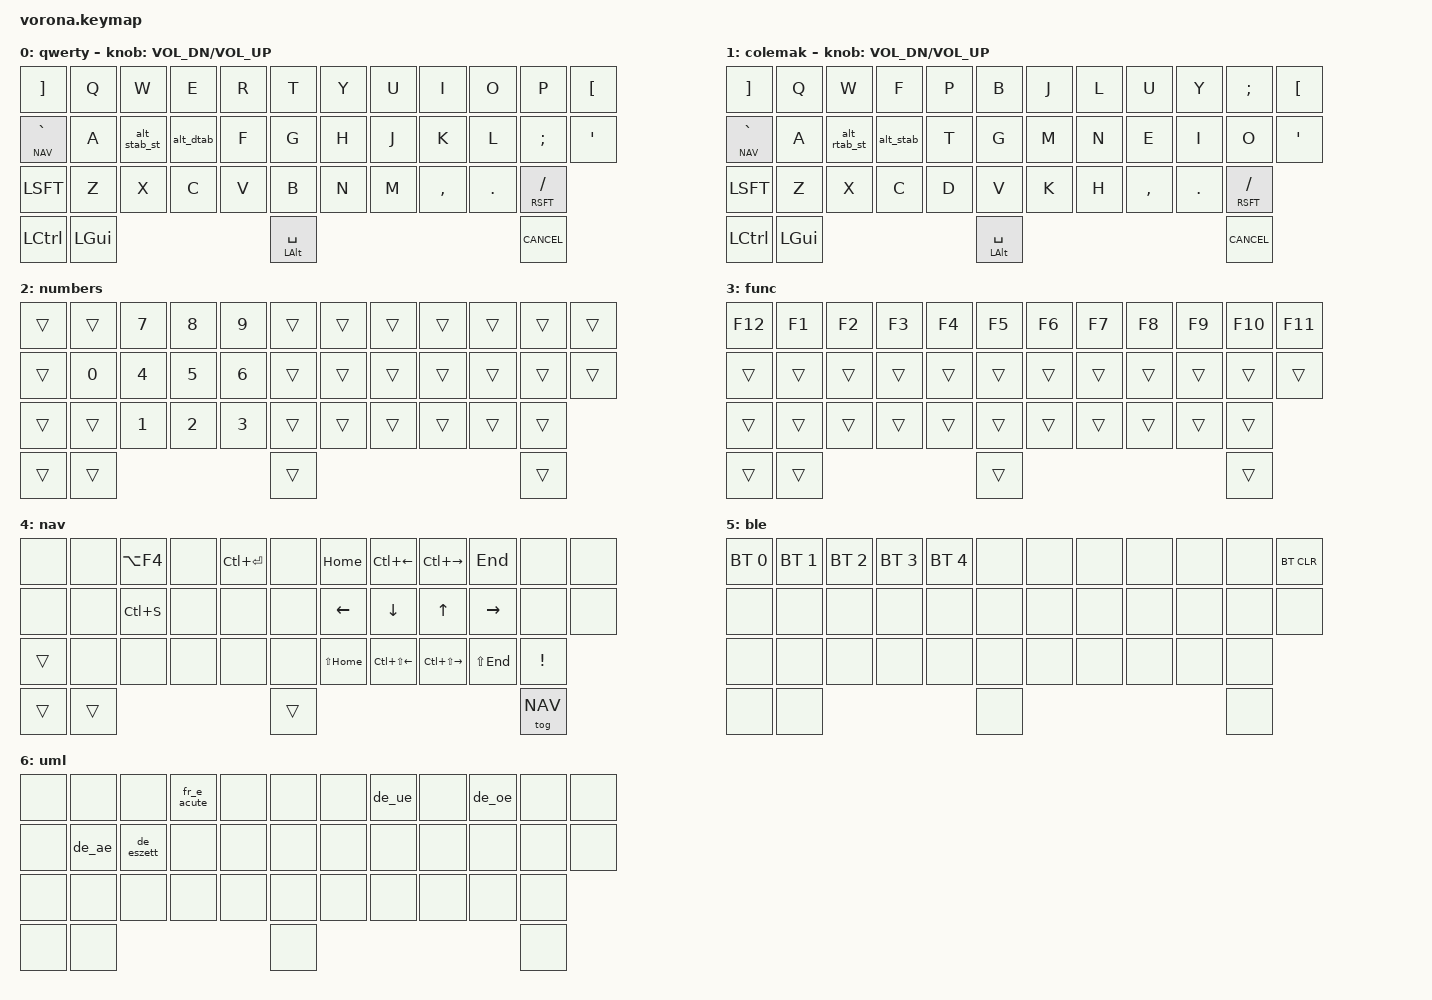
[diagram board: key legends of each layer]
#include <behaviors.dtsi>
#include <dt-bindings/zmk/keys.h>
#include <dt-bindings/zmk/bt.h>

#include "zmk-helpers/helper.h"
// #include "zmk-helpers/international_chars/german.dtsi"
// #include "zmk-helpers/international_chars/french.dtsi"

// Source unicode-chars for desired languages
#include "zmk-helpers/unicode-chars/german.dtsi"
#include "zmk-helpers/unicode-chars/french.dtsi"

#define QWERTY 0
#define COLEMAK 1
#define NUM 2
#define FUNC 3
#define NAV 4
#define BT 5
#define UML 6

&lt { flavor = "balanced"; tapping-term-ms = <200>; quick-tap-ms = <200>; require-prior-idle-ms = <200>; };
&mt { flavor = "balanced"; tapping-term-ms = <200>; quick-tap-ms = <200>; require-prior-idle-ms = <200>; };
&sk { release-after-ms = <800>; quick-release; };
&sl { ignore-modifiers; release-after-ms = <5000>; };

// morphs
ZMK_BEHAVIOR(smart_shft, mod_morph, bindings = <&sk LSFT>, <&kp CAPS>; mods = <(MOD_LSFT)>;)
ZMK_BEHAVIOR(slsh_excl, mod_morph, bindings = <&kp SLASH>, <&kp EXCL>; mods = <(MOD_RSFT)>;)

// parentheses, braces, brackets, chevrons morphs
ZMK_BEHAVIOR(lparchev, mod_morph, bindings = <&kp LPAR>, <&kp LT>; mods = <(MOD_RSFT)>;)
ZMK_BEHAVIOR(rparchev, mod_morph, bindings = <&kp RPAR>, <&kp GT>; mods = <(MOD_RSFT)>;)
ZMK_BEHAVIOR(lbrkbrc, mod_morph, bindings = <&kp LBKT>, <&kp LBRC>; mods = <(MOD_RSFT)>;)
ZMK_BEHAVIOR(rbrkbrc, mod_morph, bindings = <&kp RBKT>, <&kp RBRC>; mods = <(MOD_RSFT)>;)

/* LALT morphs */
ZMK_BEHAVIOR(alt_dtab, mod_morph, bindings = <&kp D>, <&kp TAB>; mods = <(MOD_LALT)>; keep-mods = <(MOD_LALT)>;)
ZMK_BEHAVIOR(alt_stab, mod_morph, bindings = <&kp S>, <&kp TAB>; mods = <(MOD_LALT)>; keep-mods = <(MOD_LALT)>;)
ZMK_BEHAVIOR(alt_stab_st, mod_morph, bindings = <&kp S>, <&kp LS(TAB)>; mods = <(MOD_LALT)>; keep-mods = <(MOD_LALT)>;)
ZMK_BEHAVIOR(alt_rtab_st, mod_morph, bindings = <&kp R>, <&kp LS(TAB)>; mods = <(MOD_LALT)>; keep-mods = <(MOD_LALT)>;)


/ {

    behaviors {
        num_dance: num_dance_hold_tap {
            compatible = "zmk,behavior-hold-tap";
            #binding-cells = <2>;
            flavor = "balanced";
            tapping-term-ms = <150>;
            quick-tap-ms = <200>;
            bindings = <&tog>, <&sl>;
        };
    };

    macros {
        pinp: pinp {
            compatible = "zmk,behavior-macro";
            #binding-cells = <0>;
            bindings
                = <&macro_tap &kp PRCNT &kp I &kp N &kp PRCNT>
                ;
        };
        nequal: nequal {
            compatible = "zmk,behavior-macro";
            #binding-cells = <0>;
            bindings
                = <&macro_tap &kp EXCL &kp EQUAL>
                ;
        };
    };

    keymap {
        compatible = "zmk,keymap";

        QWERTY {
            label = "qwerty";
            bindings = <
    &kp RBKT         &kp Q     &kp W        &kp E        &kp R      &kp T     &kp Y     &kp U    &kp I      &kp O     &kp P       &kp LBKT
    &lt NAV GRAVE    &kp A     &alt_stab_st &alt_dtab    &kp F      &kp G     &kp H     &kp J    &kp K      &kp L     &kp SEMI    &kp SQT
    &kp LSFT         &kp Z     &kp X        &kp C        &kp V      &kp B     &kp N     &kp M    &kp COMMA  &kp DOT   &mt RSFT SLASH
    &kp LCTRL        &kp LGUI                                       &mt LALT SPACE                                    &kp K_CANCEL
            >;
            sensor-bindings = <&inc_dec_kp C_VOL_DN C_VOL_UP>;
        };
        COLEMAK{
            label = "colemak";
            bindings = <
    &kp RBKT         &kp Q     &kp W        &kp F        &kp P      &kp B     &kp J     &kp L     &kp U     &kp Y      &kp SEMI    &kp LBKT
    &lt NAV GRAVE    &kp A     &alt_rtab_st &alt_stab    &kp T      &kp G     &kp M     &kp N     &kp E     &kp I      &kp O       &kp SQT
    &kp LSFT         &kp Z     &kp X        &kp C        &kp D      &kp V     &kp K     &kp H     &kp COMMA &kp DOT    &mt RSFT SLASH
    &kp LCTRL        &kp LGUI                                       &mt LALT SPACE                                     &kp K_CANCEL
            >;
            sensor-bindings = <&inc_dec_kp C_VOL_DN C_VOL_UP>;
        };
        NUM{
            label = "numbers";
            bindings = <
    &trans       &trans    &kp N7     &kp N8      &kp N9     &trans    &trans    &trans &trans &trans  &trans   &trans
    &trans       &kp N0    &kp N4     &kp N5      &kp N6     &trans    &trans    &trans &trans &trans  &trans   &trans
    &trans       &trans    &kp N1     &kp N2      &kp N3     &trans    &trans    &trans &trans &trans  &trans 
    &trans       &trans                                                &trans                  &trans
            >;
        };
        FUNC{
            label = "func";
            bindings = <
    &kp F12      &kp F1    &kp F2     &kp F3      &kp F4     &kp F5    &kp F6    &kp F7    &kp F8    &kp F9     &kp F10    &kp F11
    &trans       &trans    &trans     &trans      &trans     &trans    &trans    &trans    &trans    &trans     &trans     &trans
    &trans       &trans    &trans     &trans      &trans     &trans    &trans    &trans    &trans    &trans     &trans
    &trans       &trans                                      &trans                                             &trans
            >;
        };
        NAV{
            label = "nav";
            bindings = <
    &none        &none     &kp LA(F4) &none      &kp LC(ENTER)  &none     &kp HOME             &kp LC(LEFT)     &kp LC(RIGHT)     &kp END               &none    &none
    &none        &none     &kp LC(S)  &none      &none          &none     &kp LEFT             &kp DOWN         &kp UP            &kp RIGHT             &none    &none
    &trans       &none     &none      &none      &none          &none     &kp LS(HOME)         &kp LC(LS(LEFT)) &kp LC(LS(RIGHT)) &kp LS(END)           &kp EXCL
    &trans       &trans                                         &trans                                                                                  &tog NAV
            >;
        };
        BT {
            label = "ble";
            bindings = <
    &bt BT_SEL 0 &bt BT_SEL 1 &bt BT_SEL 2 &bt BT_SEL 3 &bt BT_SEL 4 &none     &none    &none     &none     &none    &none   &bt BT_CLR
    &none        &none        &none        &none        &none        &none     &none    &none     &none     &none    &none   &none
    &none        &none        &none        &none        &none        &none     &none    &none     &none     &none    &none
    &none        &none                                  &none                                                        &none
            >;
        };
        UML {
            label = "uml";
            bindings = <
    &none        &none        &none        &fr_e_acute  &none        &none     &none    &de_ue    &none     &de_oe   &none   &none
    &none        &de_ae       &de_eszett   &none        &none        &none     &none    &none     &none     &none    &none   &none
    &none        &none        &none        &none        &none        &none     &none    &none     &none     &none    &none
    &none        &none                                  &none                                                        &none
            >;
        };
    };
};

/*                KEY POSITIONS
  ╭───────────────────────────────────────────────╮
  │ 0   1   2   3   4   5   6   7   8   9   10  11│
  │ 12  13  14  15  16  17  18  19  20  21  22  23│
  │   24  25  26  27  28  29  30  31  32  33  34  │
  │  35  36               37                38    │
  ╰───────────────────────────────────────────────╯
 */

#define COMBO_TERM_COMMON 40
#define PRIOR_IDLE 200

/* symbol combos */

/* Horizontal combos - left hand */
ZMK_COMBO(esc,      &kp ESC,          2 3,          ALL, COMBO_TERM_COMMON, PRIOR_IDLE)
ZMK_COMBO(enter,    &kp ENTER,        3 4,          ALL, COMBO_TERM_COMMON, PRIOR_IDLE)
ZMK_COMBO(tab,      &kp TAB,        14 15,          ALL, COMBO_TERM_COMMON, PRIOR_IDLE)
ZMK_COMBO(cut,      &kp LC(X),      26 28,          ALL, COMBO_TERM_COMMON, PRIOR_IDLE)
ZMK_COMBO(copy,     &kp LC(INS),    26 27,          ALL, COMBO_TERM_COMMON, PRIOR_IDLE)
ZMK_COMBO(paste,    &kp LS(INS),    27 28,          ALL, COMBO_TERM_COMMON, PRIOR_IDLE)

/* Horizontal combos - right hand */
ZMK_COMBO(bspc,     &kp BSPC,         7 8,          ALL, COMBO_TERM_COMMON, PRIOR_IDLE)
ZMK_COMBO(del,      &kp DEL,          8 9,          ALL, COMBO_TERM_COMMON, PRIOR_IDLE)
ZMK_COMBO(com_lpc,  &lparchev,      19 20,          ALL, COMBO_TERM_COMMON, PRIOR_IDLE)
ZMK_COMBO(com_rpc,  &rparchev,      20 21,          ALL, COMBO_TERM_COMMON, PRIOR_IDLE)
ZMK_COMBO(com_lbb,  &lbrkbrc,       31 32,          ALL, COMBO_TERM_COMMON, PRIOR_IDLE)
ZMK_COMBO(com_rbb,  &rbrkbrc,       32 33,          ALL, COMBO_TERM_COMMON, PRIOR_IDLE)


/* Vertical combos - left hand */
ZMK_COMBO(at,       &kp AT,          2 14,          ALL, COMBO_TERM_COMMON, PRIOR_IDLE)
ZMK_COMBO(hash,     &kp HASH,        3 15,          ALL, COMBO_TERM_COMMON, PRIOR_IDLE)
ZMK_COMBO(dllr,     &kp DLLR,        4 16,          ALL, COMBO_TERM_COMMON, PRIOR_IDLE)
ZMK_COMBO(prcnt,    &kp PRCNT,       5 17,          ALL, COMBO_TERM_COMMON, PRIOR_IDLE)

ZMK_COMBO(grave,    &kp GRAVE,      14 25,          ALL, COMBO_TERM_COMMON, PRIOR_IDLE)
ZMK_COMBO(bslh,     &kp BSLH,       15 26,          ALL, COMBO_TERM_COMMON, PRIOR_IDLE)
ZMK_COMBO(equal,    &kp EQUAL,      16 27,          ALL, COMBO_TERM_COMMON, PRIOR_IDLE)
ZMK_COMBO(tilde,    &kp TILDE,      17 28,          ALL, COMBO_TERM_COMMON, PRIOR_IDLE)

/* Vertical combos - right hand */
ZMK_COMBO(caret,    &kp CARET,       6 18,          ALL, COMBO_TERM_COMMON, PRIOR_IDLE)
ZMK_COMBO(plus,     &kp PLUS,        7 19,          ALL, COMBO_TERM_COMMON, PRIOR_IDLE)
ZMK_COMBO(star,     &kp STAR,        8 20,          ALL, COMBO_TERM_COMMON, PRIOR_IDLE)
ZMK_COMBO(amps,     &kp AMPS,        9 21,          ALL, COMBO_TERM_COMMON, PRIOR_IDLE)

ZMK_COMBO(under,    &kp UNDER,      18 30,          ALL, COMBO_TERM_COMMON, PRIOR_IDLE)
ZMK_COMBO(minus,    &kp MINUS,      19 31,          ALL, COMBO_TERM_COMMON, PRIOR_IDLE)
ZMK_COMBO(fslh,     &kp FSLH,       20 32,          ALL, COMBO_TERM_COMMON, PRIOR_IDLE)
ZMK_COMBO(pipe,     &kp PIPE,       21 33,          ALL, COMBO_TERM_COMMON, PRIOR_IDLE)

/* special combos */
ZMK_COMBO(rpipe,     &kp LC(LS(M)),     31 20 21,      ALL, COMBO_TERM_COMMON, PRIOR_IDLE)
ZMK_COMBO(requal,    &kp LA(MINUS),     19  8  9,      ALL, COMBO_TERM_COMMON, PRIOR_IDLE)
ZMK_COMBO(boot,        &bootloader,        12 34,       BT, COMBO_TERM_COMMON, PRIOR_IDLE)
ZMK_COMBO(nequal,          &nequal,        15 27,      ALL, COMBO_TERM_COMMON, PRIOR_IDLE)
ZMK_COMBO(pinp,              &pinp,     14 15 27,      ALL, COMBO_TERM_COMMON, PRIOR_IDLE)
ZMK_COMBO(cps,            &kp CAPS,        24 34,      ALL, COMBO_TERM_COMMON, PRIOR_IDLE)


/* layer combos */
ZMK_COMBO(toqwer,   &to QWERTY,         1 4 7 10, COLEMAK, COMBO_TERM_COMMON, PRIOR_IDLE)
ZMK_COMBO(tocole,   &to COLEMAK,        1 4 7 10,  QWERTY, COMBO_TERM_COMMON, PRIOR_IDLE)
ZMK_COMBO(tognum,   &num_dance NUM NUM,    14 16,     ALL, COMBO_TERM_COMMON, PRIOR_IDLE)
ZMK_COMBO(slfunc,   &sl FUNC,                2 4,     ALL, COMBO_TERM_COMMON, PRIOR_IDLE)
ZMK_COMBO(tognav,   &tog NAV,              13 16,     ALL, COMBO_TERM_COMMON, PRIOR_IDLE)
ZMK_COMBO(slble,    &sl BT,          13 16 19 22,     ALL, COMBO_TERM_COMMON, PRIOR_IDLE)
ZMK_COMBO(sluml,    &sl UML,                 1 4,  QWERTY, COMBO_TERM_COMMON) // don't need prior idle for this


/* TODO: push on rotary encoder assign? K_CANCEL on combo? Caps word? Sort out leds finally */
